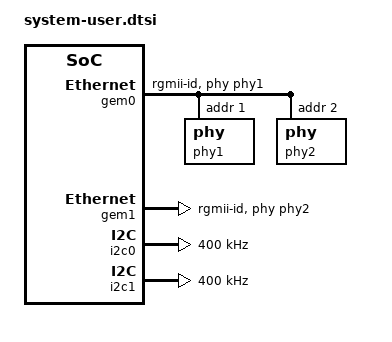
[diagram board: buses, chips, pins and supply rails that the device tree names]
/*
  Copyright 2021 Xilinx, Inc.
 
  Licensed under the Apache License, Version 2.0 (the "License");
  you may not use this file except in compliance with the License.
  You may obtain a copy of the License at
 
      http://www.apache.org/licenses/LICENSE-2.0
 
  Unless required by applicable law or agreed to in writing, software
  distributed under the License is distributed on an "AS IS" BASIS,
  WITHOUT WARRANTIES OR CONDITIONS OF ANY KIND, either express or implied.
  See the License for the specific language governing permissions and
  limitations under the License.
*/ 

/include/ "system-conf.dtsi"
/ {
};

&sdhci1{
  no-1-8-v;
  sdhci-caps-mask = <0x00 0x200000>;
  sdhci-caps = <0x00 0x00>;
  max-frequency = <0x121eac0>;
};

&gem0 { /* PMC_MIO_48, LPD_MIO0-11/24/25 */
	phy-handle = <&phy1>; /* u128 */
	phy-mode = "rgmii-id";
	phy1: phy@1 {
		reg = <1>;
		ti,rx-internal-delay = <0xb>;
		ti,tx-internal-delay = <0xa>;
		ti,fifo-depth = <1>;
		ti,dp83867-rxctrl-strap-quirk;
	};
	phy2: phy@2 {
		reg = <2>;
		ti,rx-internal-delay = <0xb>;
		ti,tx-internal-delay = <0xa>;
		ti,fifo-depth = <1>;
		ti,dp83867-rxctrl-strap-quirk;
	};
};

&gem1 { /* PMC_MIO_49, LPD_MIO12-23 */
	phy-handle = <&phy2>; /* u134 */
	phy-mode = "rgmii-id";
};

&i2c0 { /* PMC_MIO46/47 */
	clock-frequency = <400000>;
};

&i2c1 { /* PMC_MIO44/45 */
	clock-frequency = <400000>;
};

